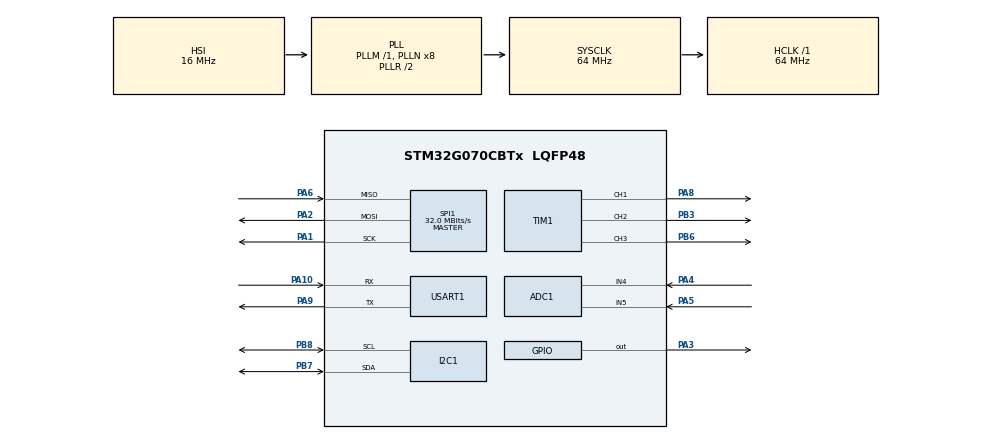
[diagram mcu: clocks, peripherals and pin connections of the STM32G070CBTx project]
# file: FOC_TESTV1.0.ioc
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ADC1.Channel-0\#ChannelRegularConversion=ADC_CHANNEL_4
ADC1.NbrOfConversionFlag=1
ADC1.Rank-0\#ChannelRegularConversion=1
ADC1.SamplingTime-0\#ChannelRegularConversion=ADC_SAMPLINGTIME_COMMON_1
ADC1.SelectedChannel=ADC_CHANNEL_4|ADC_CHANNEL_5
ADC1.master=1
Dma.I2C1_RX.1.Direction=DMA_PERIPH_TO_MEMORY
Dma.I2C1_RX.1.EventEnable=DISABLE
Dma.I2C1_RX.1.Instance=DMA1_Channel2
Dma.I2C1_RX.1.MemDataAlignment=DMA_MDATAALIGN_BYTE
Dma.I2C1_RX.1.MemInc=DMA_MINC_ENABLE
Dma.I2C1_RX.1.Mode=DMA_NORMAL
Dma.I2C1_RX.1.PeriphDataAlignment=DMA_PDATAALIGN_BYTE
Dma.I2C1_RX.1.PeriphInc=DMA_PINC_DISABLE
Dma.I2C1_RX.1.Polarity=HAL_DMAMUX_REQ_GEN_RISING
Dma.I2C1_RX.1.Priority=DMA_PRIORITY_VERY_HIGH
Dma.I2C1_RX.1.RequestNumber=1
Dma.I2C1_RX.1.SignalID=NONE
Dma.I2C1_RX.1.SyncEnable=DISABLE
Dma.I2C1_RX.1.SyncPolarity=HAL_DMAMUX_SYNC_NO_EVENT
Dma.I2C1_RX.1.SyncRequestNumber=1
Dma.I2C1_RX.1.SyncSignalID=NONE
Dma.I2C1_TX.0.Direction=DMA_MEMORY_TO_PERIPH
Dma.I2C1_TX.0.EventEnable=DISABLE
Dma.I2C1_TX.0.Instance=DMA1_Channel1
Dma.I2C1_TX.0.MemDataAlignment=DMA_MDATAALIGN_BYTE
Dma.I2C1_TX.0.MemInc=DMA_MINC_ENABLE
Dma.I2C1_TX.0.Mode=DMA_NORMAL
Dma.I2C1_TX.0.PeriphDataAlignment=DMA_PDATAALIGN_BYTE
Dma.I2C1_TX.0.PeriphInc=DMA_PINC_DISABLE
Dma.I2C1_TX.0.Polarity=HAL_DMAMUX_REQ_GEN_RISING
Dma.I2C1_TX.0.Priority=DMA_PRIORITY_VERY_HIGH
Dma.I2C1_TX.0.RequestNumber=1
Dma.I2C1_TX.0.SignalID=NONE
Dma.I2C1_TX.0.SyncEnable=DISABLE
Dma.I2C1_TX.0.SyncPolarity=HAL_DMAMUX_SYNC_NO_EVENT
Dma.I2C1_TX.0.SyncRequestNumber=1
Dma.I2C1_TX.0.SyncSignalID=NONE
Dma.Request0=I2C1_TX
Dma.Request1=I2C1_RX
Dma.Request2=USART1_RX
Dma.USART1_RX.2.Direction=DMA_PERIPH_TO_MEMORY
Dma.USART1_RX.2.EventEnable=DISABLE
Dma.USART1_RX.2.Instance=DMA1_Channel3
Dma.USART1_RX.2.MemDataAlignment=DMA_MDATAALIGN_BYTE
Dma.USART1_RX.2.MemInc=DMA_MINC_ENABLE
Dma.USART1_RX.2.Mode=DMA_NORMAL
Dma.USART1_RX.2.PeriphDataAlignment=DMA_PDATAALIGN_BYTE
Dma.USART1_RX.2.PeriphInc=DMA_PINC_DISABLE
Dma.USART1_RX.2.Polarity=HAL_DMAMUX_REQ_GEN_RISING
Dma.USART1_RX.2.Priority=DMA_PRIORITY_LOW
Dma.USART1_RX.2.RequestNumber=1
Dma.USART1_RX.2.SignalID=NONE
Dma.USART1_RX.2.SyncEnable=DISABLE
Dma.USART1_RX.2.SyncPolarity=HAL_DMAMUX_SYNC_NO_EVENT
Dma.USART1_RX.2.SyncRequestNumber=1
Dma.USART1_RX.2.SyncSignalID=NONE
I2C1.Timing=0x10B17DB5
Mcu.Family=STM32G0
Mcu.Name=STM32G070CBTx
Mcu.Package=LQFP48
NVIC.DMA1_Channel1_IRQn=true\:0\:0\:false\:false\:true\:false\:true\:true
NVIC.DMA1_Channel2_3_IRQn=true\:0\:0\:false\:false\:true\:false\:true\:true
NVIC.I2C1_IRQn=true\:0\:0\:false\:false\:true\:true\:true\:true
NVIC.USART1_IRQn=true\:0\:0\:false\:false\:true\:true\:true\:true
PA1.Mode=Full_Duplex_Master
PA1.Signal=SPI1_SCK
PA10.Mode=Asynchronous
PA10.Signal=USART1_RX
PA13.Mode=Serial_Wire
PA13.Signal=SYS_SWDIO
PA14-BOOT0.Mode=Serial_Wire
PA14-BOOT0.Signal=SYS_SWCLK
PA2.Mode=Full_Duplex_Master
PA2.Signal=SPI1_MOSI
PA3.Signal=GPIO_Output
PA4.Mode=IN4
PA4.Signal=ADC1_IN4
PA5.Mode=IN5
PA5.Signal=ADC1_IN5
PA6.Mode=Full_Duplex_Master
PA6.Signal=SPI1_MISO
PA8.Signal=S_TIM1_CH1
PA9.Mode=Asynchronous
PA9.Signal=USART1_TX
PB3.Signal=S_TIM1_CH2
PB6.Signal=S_TIM1_CH3
PB7.Mode=I2C
PB7.Signal=I2C1_SDA
PB8.Mode=I2C
PB8.Signal=I2C1_SCL
PF0-OSC_IN\ (PF0).Mode=HSE-External-Oscillator
PF0-OSC_IN\ (PF0).Signal=RCC_OSC_IN
PF1-OSC_OUT\ (PF1).Mode=HSE-External-Oscillator
PF1-OSC_OUT\ (PF1).Signal=RCC_OSC_OUT
ProjectManager.HeapSize=0x200
ProjectManager.StackSize=0x400
ProjectManager.TargetToolchain=MDK-ARM V5.32
RCC.ADCFreq_Value=64000000
RCC.AHBFreq_Value=64000000
RCC.CortexFreq_Value=64000000
RCC.EXTERNAL_CLOCK_VALUE=48000
RCC.HCLKFreq_Value=64000000
RCC.HSE_VALUE=8000000
RCC.HSI_VALUE=16000000
RCC.LSE_VALUE=32768
RCC.SYSCLKFreq_VALUE=64000000
RCC.SYSCLKSource=RCC_SYSCLKSOURCE_PLLCLK
RCC.VCOOutputFreq_Value=128000000
SH.S_TIM1_CH1.0=TIM1_CH1,Output Compare1 CH1
SH.S_TIM1_CH2.0=TIM1_CH2,Output Compare2 CH2
SH.S_TIM1_CH3.0=TIM1_CH3,Output Compare3 CH3
SPI1.CalculateBaudRate=32.0 MBits/s
SPI1.Direction=SPI_DIRECTION_2LINES
SPI1.Mode=SPI_MODE_MASTER
SPI1.VirtualType=VM_MASTER
TIM1.Channel-Output\ Compare1\ CH1=TIM_CHANNEL_1
TIM1.Channel-Output\ Compare2\ CH2=TIM_CHANNEL_2
TIM1.Channel-Output\ Compare3\ CH3=TIM_CHANNEL_3
USART1.VirtualMode-Asynchronous=VM_ASYNC
board=custom

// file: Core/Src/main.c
/* USER CODE BEGIN Header */
/**
  ******************************************************************************
  * @file           : main.c
  * @brief          : Main program body
  ******************************************************************************
  * @attention
  *
  * Copyright (c) 2025 STMicroelectronics.
  * All rights reserved.
  *
  * This software is licensed under terms that can be found in the LICENSE file
  * in the root directory of this software component.
  * If no LICENSE file comes with this software, it is provided AS-IS.
  *
  ******************************************************************************
  */
/* USER CODE END Header */
#include "main.h"
#include "adc.h"
#include "dma.h"
#include "i2c.h"
#include "spi.h"
#include "tim.h"
#include "usart.h"
#include "gpio.h"

/* USER CODE BEGIN Includes */
#include "menu.h"
#include "AS5600.h"
#include "current_sensor.h"
#include "FOC.h"
#include "dma.h"
#include "pid.h"
#include <math.h>
#include "fast_math.h"
/* USER CODE END Includes */

/* USER CODE BEGIN PM */
typedef struct
{
  int16_t iq;
  int16_t id;
  int16_t radian;
  int16_t rpm;
} motor_state_t;

static volatile motor_state_t motor_state_isr = {0};
menu_mode_t current_control_mode = MENU_MODE_IDLE;
/* USER CODE END PM */

/* USER CODE BEGIN PV */
volatile uint32_t tim6_duration_us = 0;  // TIM6中断执行时间 (微秒)
/* USER CODE END PV */

void SystemClock_Config(void);
/* USER CODE BEGIN PFP */
PID PID_Speed;
PID PID_I;
PID PID_Id;

int16_t current_I[2] = {0,0};
int16_t iq_temp = 0;
int16_t id_temp = 0;
int16_t uq = 0;
int16_t ud = 0;
/* USER CODE END PFP */

int main(void)
{

  /* MCU Configuration--------------------------------------------------------*/

  /* Reset of all peripherals, Initializes the Flash interface and the Systick. */
  HAL_Init();

  /* Configure the system clock */
  SystemClock_Config();

  /* Initialize all configured peripherals */
  MX_GPIO_Init();
  MX_DMA_Init();
  MX_ADC1_Init();
  MX_I2C1_Init();
  MX_TIM1_Init();
  MX_SPI1_Init();
  MX_USART1_UART_Init();
  /* USER CODE BEGIN 2 */
  TIM1_StartPWM();
  HAL_Delay(1000);
  ADC_Start_DMA();
  Current_Sensor_Calibrate_Zero();
  FOC_Init(12000);
	MX_TIM3_Init(500);
	MX_TIM6_Init(100);
  Menu_Init();
  /* USER CODE END 2 */
  PID_Init(&PID_Speed,500,8,0,100000,100000,0);
  PID_Init(&PID_I,300,8,0,limit_voltage,limit_voltage / 16,0);
  PID_Init(&PID_Id,200,16,0,limit_voltage,limit_voltage / 16,0);
  /* Infinite loop */
  while (1)
  {

    /* USER CODE BEGIN 3 */
//    Menu_Process();
//
//    // // 根据菜单模式设置目标值
//    if(Menu_IsModeSelected())
//    {
//      current_control_mode = Menu_GetMode();
//      float target = Menu_GetTargetValue();
//
//      if(current_control_mode == MENU_MODE_SPEED)
//      {
//        // 速度控制模式：设置速度目标值
//        if(target > 1300)target = 1300;
//        PID_Speed.target = target;
//      }
//      else if(current_control_mode == MENU_MODE_TORQUE)
//      {
//        // 转矩控制模式：直接设置iq目标值
//        PID_I.target = target;
//      }
//    }
    printf("%d,%d\n", motor_state_isr.rpm, motor_state_isr.iq);

  }
  /* USER CODE END 3 */
}

  HAL_PWREx_ControlVoltageScaling(PWR_REGULATOR_VOLTAGE_SCALE1);

  /** Initializes the RCC Oscillators according to the specified parameters
  * in the RCC_OscInitTypeDef structure.
  */
  RCC_OscInitStruct.OscillatorType = RCC_OSCILLATORTYPE_HSI;
  RCC_OscInitStruct.HSIState = RCC_HSI_ON;
  RCC_OscInitStruct.HSIDiv = RCC_HSI_DIV1;
  RCC_OscInitStruct.HSICalibrationValue = RCC_HSICALIBRATION_DEFAULT;
  RCC_OscInitStruct.PLL.PLLState = RCC_PLL_ON;
  RCC_OscInitStruct.PLL.PLLSource = RCC_PLLSOURCE_HSI;
  RCC_OscInitStruct.PLL.PLLM = RCC_PLLM_DIV1;
  RCC_OscInitStruct.PLL.PLLN = 8;
  RCC_OscInitStruct.PLL.PLLP = RCC_PLLP_DIV2;
  RCC_OscInitStruct.PLL.PLLR = RCC_PLLR_DIV2;
  if (HAL_RCC_OscConfig(&RCC_OscInitStruct) != HAL_OK)
  {
    Error_Handler();
  }

  /** Initializes the CPU, AHB and APB buses clocks
  */
  RCC_ClkInitStruct.ClockType = RCC_CLOCKTYPE_HCLK|RCC_CLOCKTYPE_SYSCLK
                              |RCC_CLOCKTYPE_PCLK1;
  RCC_ClkInitStruct.SYSCLKSource = RCC_SYSCLKSOURCE_PLLCLK;
  RCC_ClkInitStruct.AHBCLKDivider = RCC_SYSCLK_DIV1;
  RCC_ClkInitStruct.APB1CLKDivider = RCC_HCLK_DIV1;

  if (HAL_RCC_ClockConfig(&RCC_ClkInitStruct, FLASH_LATENCY_2) != HAL_OK)
  {
    Error_Handler();
  }
}

/* USER CODE BEGIN 4 */

/**
  * @brief  Period elapsed callback in non-blocking mode
  * @param  htim: TIM handle
  * @retval None
  */
void HAL_TIM_PeriodElapsedCallback(TIM_HandleTypeDef *htim)
{
  if(htim->Instance == TIM6)
  {
    // TIM6微秒中断处理程序 - 用户自定义功能
    /* USER CODE BEGIN TIM6_IRQ */
    uint32_t start_cycles = __HAL_TIM_GET_COUNTER(&htim6);

    int16_t electrical_angle = motor_state_isr.radian;
    Get_Phase_Currents(current_I);
    cal_Iq_Id(current_I[0], current_I[1], electrical_angle, &iq_temp, &id_temp);
    motor_state_isr.iq = (iq_temp + motor_state_isr.iq * 9) / 10;
    motor_state_isr.id = (id_temp + motor_state_isr.id * 9) / 10;
    uq = Position_PID_Calculate(&PID_I,motor_state_isr.iq);
    ud = Position_PID_Calculate(&PID_Id,motor_state_isr.id);
    setPhaseVoltage_SVPWM(uq, ud, electrical_angle);

    uint32_t end_cycles = __HAL_TIM_GET_COUNTER(&htim6);
    if(end_cycles >= start_cycles)
    {
      tim6_duration_us = end_cycles - start_cycles;
    }
    else
    {
      tim6_duration_us = (htim6.Init.Period + 1 - start_cycles) + end_cycles;
    }
    /* USER CODE END TIM6_IRQ */
  }
  else if(htim->Instance == TIM3)
  {
    int16_t radian_value = -electricAngle_position();
    motor_state_isr.radian = radian_value;

    static int16_t last_angle = 0;
    static uint8_t angle_initialized = 0;
    static int32_t rpm_filtered_q4 = 0; // Q4格式以保留滤波精度

    if(!angle_initialized)
    {
      last_angle = radian_value;
      angle_initialized = 1;
      motor_state_isr.rpm = 0;
    }
    else
    {
      int16_t angle_diff = radian_value - last_angle;
      int32_t rpm_raw = ((int32_t)angle_diff * 67) >> 8;
      rpm_filtered_q4 = (rpm_filtered_q4 * 9 + (rpm_raw << 4)) / 10;
      motor_state_isr.rpm = (int16_t)(rpm_filtered_q4 >> 4);

      // 速度环处理
//     if(current_control_mode == MENU_MODE_SPEED)
//     {
        // 注意：假设 Position_PID_Calculate 返回整型
        // 如果原代码是浮点除法 /1000.0f，这里保留整数除法可能需要调整增益
        PID_I.target = Position_PID_Calculate(&PID_Speed,motor_state_isr.rpm) / 1000;
//     }

      last_angle = radian_value;
    }
  }
}
/* USER CODE END 4 */

void Error_Handler(void)
{
  __disable_irq();
  while (1)
  {
  }
}
